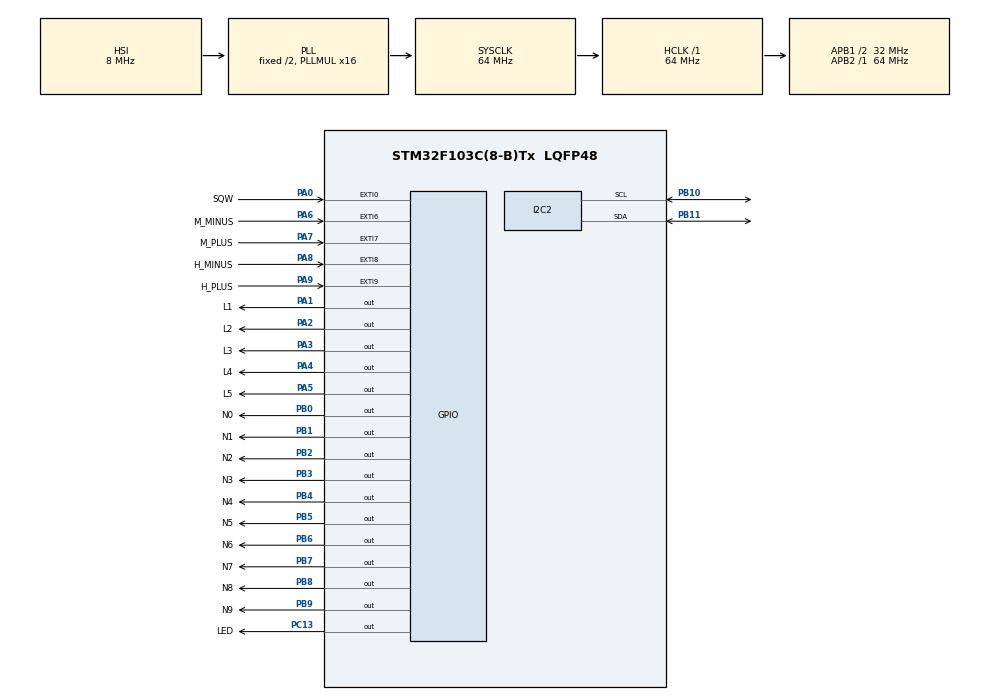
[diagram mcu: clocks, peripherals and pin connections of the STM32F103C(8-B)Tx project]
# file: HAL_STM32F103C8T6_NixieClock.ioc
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FREERTOS.BinarySemaphores01=ButtonsSemaphore,Dynamic,NULL
FREERTOS.Mutexes01=SharedMemoryMutex,Dynamic,NULL;I2C_Mutex,Dynamic,NULL
FREERTOS.Tasks01=defaultTask,16,128,StartDefaultTask,Default,NULL,Dynamic,NULL,NULL;ButtonsTask,24,128,Start_ButtonsTask,Default,NULL,Dynamic,NULL,NULL;RTC_ReadTask,24,128,start_RTC_ReadTask,Default,NULL,Dynamic,NULL,NULL;DisplayTask,23,128,StartDisplayTask,Default,NULL,Dynamic,NULL,NULL
I2C2.I2C_Mode=I2C_Fast
Mcu.Family=STM32F1
Mcu.Name=STM32F103C(8-B)Tx
Mcu.Package=LQFP48
NVIC.EXTI0_IRQn=true\:5\:0\:false\:false\:true\:true\:true\:true
NVIC.EXTI9_5_IRQn=true\:5\:0\:false\:false\:true\:true\:true\:true
NVIC.PriorityGroup=NVIC_PRIORITYGROUP_4
NVIC.TIM1_UP_IRQn=true\:0\:0\:false\:false\:true\:false\:false\:true
NVIC.TimeBase=TIM1_UP_IRQn
NVIC.TimeBaseIP=TIM1
PA0-WKUP.GPIO_Label=SQW
PA0-WKUP.Signal=GPXTI0
PA1.GPIO_Label=L1
PA1.Signal=GPIO_Output
PA13.Mode=Serial_Wire
PA13.Signal=SYS_JTMS-SWDIO
PA14.Mode=Serial_Wire
PA14.Signal=SYS_JTCK-SWCLK
PA2.GPIO_Label=L2
PA2.Signal=GPIO_Output
PA3.GPIO_Label=L3
PA3.Signal=GPIO_Output
PA4.GPIO_Label=L4
PA4.Signal=GPIO_Output
PA5.GPIO_Label=L5
PA5.Signal=GPIO_Output
PA6.GPIO_Label=M_MINUS
PA6.GPIO_PuPd=GPIO_PULLDOWN
PA6.Signal=GPXTI6
PA7.GPIO_Label=M_PLUS
PA7.GPIO_PuPd=GPIO_PULLDOWN
PA7.Signal=GPXTI7
PA8.GPIO_Label=H_MINUS
PA8.GPIO_PuPd=GPIO_PULLDOWN
PA8.Signal=GPXTI8
PA9.GPIO_Label=H_PLUS
PA9.GPIO_PuPd=GPIO_PULLDOWN
PA9.Signal=GPXTI9
PB0.GPIO_Label=N0
PB0.Signal=GPIO_Output
PB1.GPIO_Label=N1
PB1.Signal=GPIO_Output
PB10.Mode=I2C
PB10.Signal=I2C2_SCL
PB11.Mode=I2C
PB11.Signal=I2C2_SDA
PB2.GPIO_Label=N2
PB2.Signal=GPIO_Output
PB3.GPIO_Label=N3
PB3.Signal=GPIO_Output
PB4.GPIO_Label=N4
PB4.Signal=GPIO_Output
PB5.GPIO_Label=N5
PB5.Signal=GPIO_Output
PB6.GPIO_Label=N6
PB6.Signal=GPIO_Output
PB7.GPIO_Label=N7
PB7.Signal=GPIO_Output
PB8.GPIO_Label=N8
PB8.Signal=GPIO_Output
PB9.GPIO_Label=N9
PB9.Signal=GPIO_Output
PC13-TAMPER-RTC.GPIO_Label=LED
PC13-TAMPER-RTC.Signal=GPIO_Output
ProjectManager.HeapSize=0x200
ProjectManager.StackSize=0x400
ProjectManager.TargetToolchain=STM32CubeIDE
RCC.AHBFreq_Value=64000000
RCC.APB1CLKDivider=RCC_HCLK_DIV2
RCC.APB1Freq_Value=32000000
RCC.APB1TimFreq_Value=64000000
RCC.APB2Freq_Value=64000000
RCC.APB2TimFreq_Value=64000000
RCC.HCLKFreq_Value=64000000
RCC.PLLMUL=RCC_PLL_MUL16
RCC.SYSCLKFreq_VALUE=64000000
RCC.SYSCLKSource=RCC_SYSCLKSOURCE_PLLCLK
RCC.USBFreq_Value=64000000
VP_FREERTOS_VS_CMSIS_V2.Mode=CMSIS_V2
VP_SYS_VS_tim1.Mode=TIM1
board=custom

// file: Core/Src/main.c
/* USER CODE BEGIN Header */
/**
  ******************************************************************************
  * @file           : main.c
  * @brief          : Main program body
  ******************************************************************************
  * @attention
  *
  * <h2><center>&copy; Copyright (c) 2020 STMicroelectronics.
  * All rights reserved.</center></h2>
  *
  * This software component is licensed by ST under BSD 3-Clause license,
  * the "License"; You may not use this file except in compliance with the
  * License. You may obtain a copy of the License at:
  *                        opensource.org/licenses/BSD-3-Clause
  *
  ******************************************************************************
  */
/* USER CODE END Header */

#include "main.h"
#include "cmsis_os.h"
#include "i2c.h"
#include "gpio.h"

void SystemClock_Config(void);
void MX_FREERTOS_Init(void);

int main(void)
{

  /* MCU Configuration--------------------------------------------------------*/

  /* Reset of all peripherals, Initializes the Flash interface and the Systick. */
  HAL_Init();

  /* Configure the system clock */
  SystemClock_Config();

  /* Initialize all configured peripherals */
  MX_GPIO_Init();
  MX_I2C2_Init();

  /* Init scheduler */
  osKernelInitialize();  /* Call init function for freertos objects (in freertos.c) */
  MX_FREERTOS_Init();
  /* Start scheduler */
  osKernelStart();

  /* We should never get here as control is now taken by the scheduler */
  /* Infinite loop */
  while (1)
  {

  }
}

void SystemClock_Config(void)
{
  RCC_OscInitTypeDef RCC_OscInitStruct = {0};
  RCC_ClkInitTypeDef RCC_ClkInitStruct = {0};

  /** Initializes the CPU, AHB and APB busses clocks
  */
  RCC_OscInitStruct.OscillatorType = RCC_OSCILLATORTYPE_HSI;
  RCC_OscInitStruct.HSIState = RCC_HSI_ON;
  RCC_OscInitStruct.HSICalibrationValue = RCC_HSICALIBRATION_DEFAULT;
  RCC_OscInitStruct.PLL.PLLState = RCC_PLL_ON;
  RCC_OscInitStruct.PLL.PLLSource = RCC_PLLSOURCE_HSI_DIV2;
  RCC_OscInitStruct.PLL.PLLMUL = RCC_PLL_MUL16;
  if (HAL_RCC_OscConfig(&RCC_OscInitStruct) != HAL_OK)
  {
    Error_Handler();
  }
  /** Initializes the CPU, AHB and APB busses clocks
  */
  RCC_ClkInitStruct.ClockType = RCC_CLOCKTYPE_HCLK|RCC_CLOCKTYPE_SYSCLK
                              |RCC_CLOCKTYPE_PCLK1|RCC_CLOCKTYPE_PCLK2;
  RCC_ClkInitStruct.SYSCLKSource = RCC_SYSCLKSOURCE_PLLCLK;
  RCC_ClkInitStruct.AHBCLKDivider = RCC_SYSCLK_DIV1;
  RCC_ClkInitStruct.APB1CLKDivider = RCC_HCLK_DIV2;
  RCC_ClkInitStruct.APB2CLKDivider = RCC_HCLK_DIV1;

  if (HAL_RCC_ClockConfig(&RCC_ClkInitStruct, FLASH_LATENCY_2) != HAL_OK)
  {
    Error_Handler();
  }
}

 /**
  * @brief  Period elapsed callback in non blocking mode
  * @note   This function is called  when TIM1 interrupt took place, inside
  * HAL_TIM_IRQHandler(). It makes a direct call to HAL_IncTick() to increment
  * a global variable "uwTick" used as application time base.
  * @param  htim : TIM handle
  * @retval None
  */
void HAL_TIM_PeriodElapsedCallback(TIM_HandleTypeDef *htim)
{
  if (htim->Instance == TIM1) {
    HAL_IncTick();
  }
}

void Error_Handler(void)
{
}

/************************ (C) COPYRIGHT STMicroelectronics *****END OF FILE****/

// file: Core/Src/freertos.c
/* USER CODE BEGIN Header */
/**
 ******************************************************************************
 * File Name          : freertos.c
 * Description        : Code for freertos applications
 ******************************************************************************
 * @attention
 *
 * <h2><center>&copy; Copyright (c) 2020 STMicroelectronics.
 * All rights reserved.</center></h2>
 *
 * This software component is licensed by ST under Ultimate Liberty license
 * SLA0044, the "License"; You may not use this file except in compliance with
 * the License. You may obtain a copy of the License at:
 *                             www.st.com/SLA0044
 *
 ******************************************************************************
 */
/* USER CODE END Header */

#include "FreeRTOS.h"
#include "task.h"
#include "main.h"
#include "cmsis_os.h"

/* USER CODE BEGIN Includes */
#include "DS3231.h"
#include "i2c.h"

/* USER CODE END Includes */

/* USER CODE BEGIN Variables */

_RTC rtc =
{ .Year = 0, .Month = 8, .Date = 6, .DaysOfWeek = SUNDAY, .Hour = 12, .Min = 34,
		.Sec = 0 };

/* USER CODE END Variables */
/* Definitions for defaultTask */
osThreadId_t defaultTaskHandle;
const osThreadAttr_t defaultTask_attributes =
{ .name = "defaultTask", .priority = (osPriority_t) osPriorityBelowNormal,
		.stack_size = 128 * 4 };
/* Definitions for ButtonsTask */
osThreadId_t ButtonsTaskHandle;
const osThreadAttr_t ButtonsTask_attributes =
{ .name = "ButtonsTask", .priority = (osPriority_t) osPriorityNormal,
		.stack_size = 128 * 4 };
/* Definitions for RTC_ReadTask */
osThreadId_t RTC_ReadTaskHandle;
const osThreadAttr_t RTC_ReadTask_attributes =
{ .name = "RTC_ReadTask", .priority = (osPriority_t) osPriorityNormal,
		.stack_size = 128 * 4 };
/* Definitions for DisplayTask */
osThreadId_t DisplayTaskHandle;
const osThreadAttr_t DisplayTask_attributes =
{ .name = "DisplayTask", .priority = (osPriority_t) osPriorityBelowNormal7,
		.stack_size = 128 * 4 };
/* Definitions for SharedMemoryMutex */
osMutexId_t SharedMemoryMutexHandle;
const osMutexAttr_t SharedMemoryMutex_attributes =
{ .name = "SharedMemoryMutex" };
/* Definitions for I2C_Mutex */
osMutexId_t I2C_MutexHandle;
const osMutexAttr_t I2C_Mutex_attributes =
{ .name = "I2C_Mutex" };
/* Definitions for ButtonsSemaphore */
osSemaphoreId_t ButtonsSemaphoreHandle;
const osSemaphoreAttr_t ButtonsSemaphore_attributes =
{ .name = "ButtonsSemaphore" };

void StartDefaultTask(void *argument);
void Start_ButtonsTask(void *argument);
void start_RTC_ReadTask(void *argument);
void StartDisplayTask(void *argument);

void MX_FREERTOS_Init(void); /* (MISRA C 2004 rule 8.1) */

void MX_FREERTOS_Init(void)
{
	/* Create the mutex(es) */
	/* creation of SharedMemoryMutex */
	SharedMemoryMutexHandle = osMutexNew(&SharedMemoryMutex_attributes);

	/* creation of I2C_Mutex */
	I2C_MutexHandle = osMutexNew(&I2C_Mutex_attributes);

	/* Create the semaphores(s) */
	/* creation of ButtonsSemaphore */
	ButtonsSemaphoreHandle = osSemaphoreNew(1, 1, &ButtonsSemaphore_attributes);

	/* Create the thread(s) */
	/* creation of defaultTask */
	defaultTaskHandle = osThreadNew(StartDefaultTask, NULL,
			&defaultTask_attributes);

	/* creation of ButtonsTask */
	ButtonsTaskHandle = osThreadNew(Start_ButtonsTask, NULL,
			&ButtonsTask_attributes);

	/* creation of RTC_ReadTask */
	RTC_ReadTaskHandle = osThreadNew(start_RTC_ReadTask, NULL,
			&RTC_ReadTask_attributes);

	/* creation of DisplayTask */
	DisplayTaskHandle = osThreadNew(StartDisplayTask, NULL,
			&DisplayTask_attributes);

}

void StartDefaultTask(void *argument)
{
	for (;;)
	{
		osDelay(1);
	}
}

void Start_ButtonsTask(void *argument)
{
	/* USER CODE BEGIN Start_ButtonsTask */

	/* Infinite loop */
	for (;;)
	{
		osSemaphoreAcquire(ButtonsSemaphoreHandle, osWaitForever);
		osDelay(50);

		if (HAL_GPIO_ReadPin(H_PLUS_GPIO_Port, H_PLUS_Pin))
		{
			osDelay(50);
			osSemaphoreAcquire(SharedMemoryMutexHandle, osWaitForever);
			if (rtc.Hour + 1 > 23)
			{
				rtc.Hour = 0;
			}
			else
			{
				rtc.Hour++;
			}
			osSemaphoreAcquire(I2C_MutexHandle, osWaitForever);
			DS3231_SetTime(&rtc);
			osSemaphoreRelease(I2C_MutexHandle);
			osSemaphoreRelease(SharedMemoryMutexHandle);
		}

		if (HAL_GPIO_ReadPin(H_MINUS_GPIO_Port, H_MINUS_Pin))
		{
			osDelay(50);
			osSemaphoreAcquire(SharedMemoryMutexHandle, osWaitForever);
			if (rtc.Hour - 1 < 0)
			{
				rtc.Hour = 23;
			}
			else
			{
				rtc.Hour--;
			}
			osSemaphoreAcquire(I2C_MutexHandle, osWaitForever);
			DS3231_SetTime(&rtc);
			osSemaphoreRelease(I2C_MutexHandle);
			osSemaphoreRelease(SharedMemoryMutexHandle);
		}

		if (HAL_GPIO_ReadPin(M_PLUS_GPIO_Port, M_PLUS_Pin))
		{
			osDelay(50);
			osSemaphoreAcquire(SharedMemoryMutexHandle, osWaitForever);
			if (rtc.Min + 1 > 59)
			{
				rtc.Min = 0;
				if (rtc.Hour + 1 > 23)
				{
					rtc.Hour = 0;
				}
				else
				{
					rtc.Hour++;
				}
			}
			else
			{
				rtc.Min++;
			}
			osSemaphoreAcquire(I2C_MutexHandle, osWaitForever);
			DS3231_SetTime(&rtc);
			osSemaphoreRelease(I2C_MutexHandle);
			osSemaphoreRelease(SharedMemoryMutexHandle);
		}

		if (HAL_GPIO_ReadPin(M_MINUS_GPIO_Port, M_MINUS_Pin))
		{
			osDelay(50);
			osSemaphoreAcquire(SharedMemoryMutexHandle, osWaitForever);
			if (rtc.Min - 1 < 0)
			{
				rtc.Min = 59;
				if (rtc.Hour - 1 < 0)
				{
					rtc.Hour = 23;
				}
				else
				{
					rtc.Hour--;
				}
			}
			else
			{
				rtc.Min--;
			}
			osSemaphoreAcquire(I2C_MutexHandle, osWaitForever);
			DS3231_SetTime(&rtc);
			osSemaphoreRelease(I2C_MutexHandle);
			osSemaphoreRelease(SharedMemoryMutexHandle);
		}
	}
	/* USER CODE END Start_ButtonsTask */
}

void start_RTC_ReadTask(void *argument)
{
	/* USER CODE BEGIN start_RTC_ReadTask */

	osSemaphoreAcquire(I2C_MutexHandle, osWaitForever);
	DS3231_Init(&hi2c2);
	//DS3231_SetTime(&rtc);
	WriteRegister(DS3231_REG_CONTROL, 0b01000000); //set SQW output of RTC to 1Hz frequency
	osSemaphoreRelease(I2C_MutexHandle);

	/* Infinite loop */
	for (;;)
	{
		osSemaphoreAcquire(I2C_MutexHandle, osWaitForever);
		osSemaphoreAcquire(SharedMemoryMutexHandle, osWaitForever);
		if(DS3231_GetTime(&rtc) == false)
		{
			rtc.Hour = 0;
			rtc.Min = 0;
			rtc.Sec = 0;
		}
		osSemaphoreRelease(SharedMemoryMutexHandle);
		osSemaphoreRelease(I2C_MutexHandle);
		osDelay(100);
	}
	/* USER CODE END start_RTC_ReadTask */
}

void StartDisplayTask(void *argument)
{
	/* USER CODE BEGIN StartDisplayTask */
	uint8_t hours_10, hours_1, minutes_10, minutes_1;

	float temperature = 0;            //variable to read temperature from DS3231
	int temperature_int = 0;               //variable for temperature conversion
	int temperature_display_counter = 0; //count time while temperature is displayed

	osSemaphoreAcquire(I2C_MutexHandle, osWaitForever);
	DS3231_ReadTemperature(&temperature);         //read temperature from DS3231
	osSemaphoreRelease(I2C_MutexHandle);

	temperature_int = (int) (temperature * 100);

	hours_10 = temperature_int / 1000;                   //10's degrees celcius
	hours_1 = temperature_int % 1000 / 100;               //1's degrees celcius
	minutes_10 = temperature_int % 100 / 10;             //0.1's degrees celcius
	minutes_1 = temperature_int % 10;                   //0.01's degrees celcius

	/* Infinite loop */
	for (;;)
	{
		if (temperature_display_counter > 400)
		{
			osSemaphoreAcquire(SharedMemoryMutexHandle, osWaitForever);
			hours_10 = rtc.Hour / 10;
			hours_1 = rtc.Hour % 10;
			minutes_10 = rtc.Min / 10;
			minutes_1 = rtc.Min % 10;
			osSemaphoreRelease(SharedMemoryMutexHandle);
		}
		else
		{
			temperature_display_counter++;
		}

		//Multiplexing nixie tubes

		// Decimal digit of hours - 1st tube
		HAL_GPIO_WritePin(N0_GPIO_Port, N0_Pin, 0);
		HAL_GPIO_WritePin(N1_GPIO_Port, N1_Pin, 0);
		HAL_GPIO_WritePin(N2_GPIO_Port, N2_Pin, 0);
		HAL_GPIO_WritePin(N3_GPIO_Port, N3_Pin, 0);
		HAL_GPIO_WritePin(N4_GPIO_Port, N4_Pin, 0);
		HAL_GPIO_WritePin(N5_GPIO_Port, N5_Pin, 0);
		HAL_GPIO_WritePin(N6_GPIO_Port, N6_Pin, 0);
		HAL_GPIO_WritePin(N7_GPIO_Port, N7_Pin, 0);
		HAL_GPIO_WritePin(N8_GPIO_Port, N8_Pin, 0);
		HAL_GPIO_WritePin(N9_GPIO_Port, N9_Pin, 0);

		HAL_GPIO_WritePin(L1_GPIO_Port, L1_Pin, 1);
		HAL_GPIO_WritePin(L2_GPIO_Port, L2_Pin, 0);
		HAL_GPIO_WritePin(L4_GPIO_Port, L4_Pin, 0);
		HAL_GPIO_WritePin(L5_GPIO_Port, L5_Pin, 0);

		//if (hours_10 == 0)
			//HAL_GPIO_WritePin(N0_GPIO_Port, N0_Pin, 1);
		if (hours_10 == 1)
			HAL_GPIO_WritePin(N7_GPIO_Port, N7_Pin, 1);
		else if (hours_10 == 2)
			HAL_GPIO_WritePin(N1_GPIO_Port, N1_Pin, 1);
		else if (hours_10 == 3)
			HAL_GPIO_WritePin(N2_GPIO_Port, N2_Pin, 1);
		else if (hours_10 == 4)
			HAL_GPIO_WritePin(N3_GPIO_Port, N3_Pin, 1);
		else if (hours_10 == 5)
			HAL_GPIO_WritePin(N4_GPIO_Port, N4_Pin, 1);
		else if (hours_10 == 6)
			HAL_GPIO_WritePin(N5_GPIO_Port, N5_Pin, 1);
		else if (hours_10 == 7)
			HAL_GPIO_WritePin(N6_GPIO_Port, N6_Pin, 1);
		else if (hours_10 == 8)
			HAL_GPIO_WritePin(N8_GPIO_Port, N8_Pin, 1);
		else if (hours_10 == 9)
			HAL_GPIO_WritePin(N9_GPIO_Port, N9_Pin, 1);
		osDelay(4);

		// Single digit of hours - 2nd tube

		HAL_GPIO_WritePin(N0_GPIO_Port, N0_Pin, 0);
		HAL_GPIO_WritePin(N1_GPIO_Port, N1_Pin, 0);
		HAL_GPIO_WritePin(N2_GPIO_Port, N2_Pin, 0);
		HAL_GPIO_WritePin(N3_GPIO_Port, N3_Pin, 0);
		HAL_GPIO_WritePin(N4_GPIO_Port, N4_Pin, 0);
		HAL_GPIO_WritePin(N5_GPIO_Port, N5_Pin, 0);
		HAL_GPIO_WritePin(N6_GPIO_Port, N6_Pin, 0);
		HAL_GPIO_WritePin(N7_GPIO_Port, N7_Pin, 0);
		HAL_GPIO_WritePin(N8_GPIO_Port, N8_Pin, 0);
		HAL_GPIO_WritePin(N9_GPIO_Port, N9_Pin, 0);

		HAL_GPIO_WritePin(L1_GPIO_Port, L1_Pin, 0);
		HAL_GPIO_WritePin(L2_GPIO_Port, L2_Pin, 1);
		HAL_GPIO_WritePin(L4_GPIO_Port, L4_Pin, 0);
		HAL_GPIO_WritePin(L5_GPIO_Port, L5_Pin, 0);

		if (hours_1 == 0)
			HAL_GPIO_WritePin(N0_GPIO_Port, N0_Pin, 1);
		else if (hours_1 == 1)
			HAL_GPIO_WritePin(N7_GPIO_Port, N7_Pin, 1);
		else if (hours_1 == 2)
			HAL_GPIO_WritePin(N1_GPIO_Port, N1_Pin, 1);
		else if (hours_1 == 3)
			HAL_GPIO_WritePin(N2_GPIO_Port, N2_Pin, 1);
		else if (hours_1 == 4)
			HAL_GPIO_WritePin(N3_GPIO_Port, N3_Pin, 1);
		else if (hours_1 == 5)
			HAL_GPIO_WritePin(N4_GPIO_Port, N4_Pin, 1);
		else if (hours_1 == 6)
			HAL_GPIO_WritePin(N5_GPIO_Port, N5_Pin, 1);
		else if (hours_1 == 7)
			HAL_GPIO_WritePin(N6_GPIO_Port, N6_Pin, 1);
		else if (hours_1 == 8)
			HAL_GPIO_WritePin(N8_GPIO_Port, N8_Pin, 1);
		else if (hours_1 == 9)
			HAL_GPIO_WritePin(N9_GPIO_Port, N9_Pin, 1);
		osDelay(4);

		// Decimal digit of minutes - 4th tube  (3th is neon lamp in a middle)
		HAL_GPIO_WritePin(N0_GPIO_Port, N0_Pin, 0);
		HAL_GPIO_WritePin(N1_GPIO_Port, N1_Pin, 0);
		HAL_GPIO_WritePin(N2_GPIO_Port, N2_Pin, 0);
		HAL_GPIO_WritePin(N3_GPIO_Port, N3_Pin, 0);
		HAL_GPIO_WritePin(N4_GPIO_Port, N4_Pin, 0);
		HAL_GPIO_WritePin(N5_GPIO_Port, N5_Pin, 0);
		HAL_GPIO_WritePin(N6_GPIO_Port, N6_Pin, 0);
		HAL_GPIO_WritePin(N7_GPIO_Port, N7_Pin, 0);
		HAL_GPIO_WritePin(N8_GPIO_Port, N8_Pin, 0);
		HAL_GPIO_WritePin(N9_GPIO_Port, N9_Pin, 0);

		HAL_GPIO_WritePin(L1_GPIO_Port, L1_Pin, 0);
		HAL_GPIO_WritePin(L2_GPIO_Port, L2_Pin, 0);
		HAL_GPIO_WritePin(L4_GPIO_Port, L4_Pin, 1);
		HAL_GPIO_WritePin(L5_GPIO_Port, L5_Pin, 0);

		if (minutes_10 == 0)
			HAL_GPIO_WritePin(N0_GPIO_Port, N0_Pin, 1);
		else if (minutes_10 == 1)
			HAL_GPIO_WritePin(N7_GPIO_Port, N7_Pin, 1);
		else if (minutes_10 == 2)
			HAL_GPIO_WritePin(N1_GPIO_Port, N1_Pin, 1);
		else if (minutes_10 == 3)
			HAL_GPIO_WritePin(N2_GPIO_Port, N2_Pin, 1);
		else if (minutes_10 == 4)
			HAL_GPIO_WritePin(N3_GPIO_Port, N3_Pin, 1);
		else if (minutes_10 == 5)
			HAL_GPIO_WritePin(N4_GPIO_Port, N4_Pin, 1);
		else if (minutes_10 == 6)
			HAL_GPIO_WritePin(N5_GPIO_Port, N5_Pin, 1);
		else if (minutes_10 == 7)
			HAL_GPIO_WritePin(N6_GPIO_Port, N6_Pin, 1);
		else if (minutes_10 == 8)
			HAL_GPIO_WritePin(N8_GPIO_Port, N8_Pin, 1);
		else if (minutes_10 == 9)
			HAL_GPIO_WritePin(N9_GPIO_Port, N9_Pin, 1);
		osDelay(4);

		// Single digit of minutes - 5th tube

		HAL_GPIO_WritePin(N0_GPIO_Port, N0_Pin, 0);
		HAL_GPIO_WritePin(N1_GPIO_Port, N1_Pin, 0);
		HAL_GPIO_WritePin(N2_GPIO_Port, N2_Pin, 0);
		HAL_GPIO_WritePin(N3_GPIO_Port, N3_Pin, 0);
		HAL_GPIO_WritePin(N4_GPIO_Port, N4_Pin, 0);
		HAL_GPIO_WritePin(N5_GPIO_Port, N5_Pin, 0);
		HAL_GPIO_WritePin(N6_GPIO_Port, N6_Pin, 0);
		HAL_GPIO_WritePin(N7_GPIO_Port, N7_Pin, 0);
		HAL_GPIO_WritePin(N8_GPIO_Port, N8_Pin, 0);
		HAL_GPIO_WritePin(N9_GPIO_Port, N9_Pin, 0);

		HAL_GPIO_WritePin(L1_GPIO_Port, L1_Pin, 0);
		HAL_GPIO_WritePin(L2_GPIO_Port, L2_Pin, 0);
		HAL_GPIO_WritePin(L4_GPIO_Port, L4_Pin, 0);
		HAL_GPIO_WritePin(L5_GPIO_Port, L5_Pin, 1);

		if (minutes_1 == 0)
			HAL_GPIO_WritePin(N0_GPIO_Port, N0_Pin, 1);
		else if (minutes_1 == 1)
			HAL_GPIO_WritePin(N7_GPIO_Port, N7_Pin, 1);
		else if (minutes_1 == 2)
			HAL_GPIO_WritePin(N1_GPIO_Port, N1_Pin, 1);
		else if (minutes_1 == 3)
			HAL_GPIO_WritePin(N2_GPIO_Port, N2_Pin, 1);
		else if (minutes_1 == 4)
			HAL_GPIO_WritePin(N3_GPIO_Port, N3_Pin, 1);
		else if (minutes_1 == 5)
			HAL_GPIO_WritePin(N4_GPIO_Port, N4_Pin, 1);
		else if (minutes_1 == 6)
			HAL_GPIO_WritePin(N5_GPIO_Port, N5_Pin, 1);
		else if (minutes_1 == 7)
			HAL_GPIO_WritePin(N6_GPIO_Port, N6_Pin, 1);
		else if (minutes_1 == 8)
			HAL_GPIO_WritePin(N8_GPIO_Port, N8_Pin, 1);
		else if (minutes_1 == 9)
			HAL_GPIO_WritePin(N9_GPIO_Port, N9_Pin, 1);
		osDelay(4);
	}
	/* USER CODE END StartDisplayTask */
}

/* USER CODE BEGIN Application */
void HAL_GPIO_EXTI_Callback(uint16_t GPIO_Pin)
{
	if (GPIO_Pin == SQW_Pin)
	{
		HAL_GPIO_TogglePin(L3_GPIO_Port, L3_Pin);  //toggle state of neon lamp
		return;
	}
	if (GPIO_Pin == H_PLUS_Pin || GPIO_Pin == H_MINUS_Pin
			|| GPIO_Pin == M_PLUS_Pin || GPIO_Pin == M_MINUS_Pin)
	{
		osSemaphoreRelease(ButtonsSemaphoreHandle);
		return;
	}
}

/* USER CODE END Application */

/************************ (C) COPYRIGHT STMicroelectronics *****END OF FILE****/
